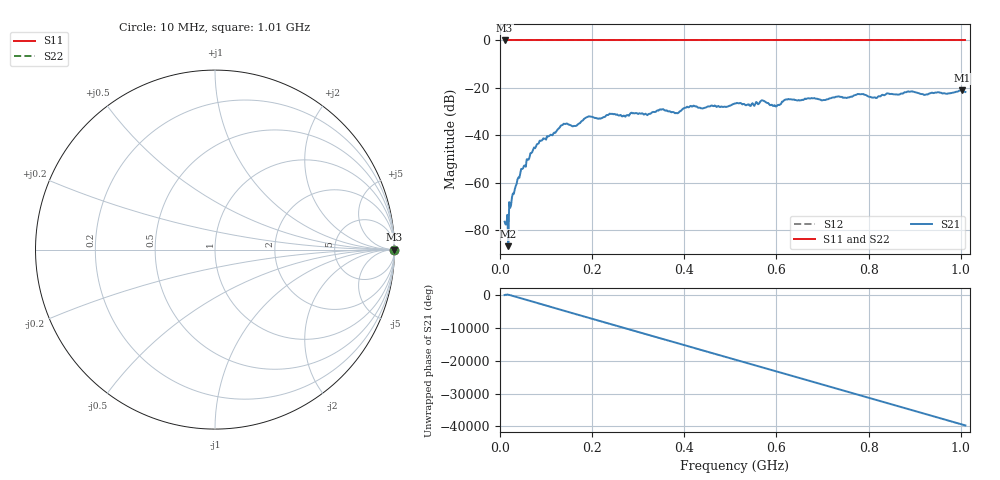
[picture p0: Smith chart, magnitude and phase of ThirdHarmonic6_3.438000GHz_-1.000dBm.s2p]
! 8/17/2025 11:04:35 AM
! C:\ANRITSUVNA\TEMP\TEMP.S2P
! CHANNEL.1
! TR.MEASUREMENT
! RAW.DATA
! RF.CORRECTION.OFF
! AVERAGING.OFF
! IF.BANDWIDTH: 5KHZ
! SWEEPTYPE:  FREQ.SWEEP(Linear)
! Reference Plane Port Info
! PORT:  PORT1  PORT2
! DISTANCE:  0  m  0  m
! TIME:  0  s  0  s
! PHASE.OFFSET:  0  deg.  0  deg.
! LOSS:  0  dB  0  dB
! REF.LOSS:  0  dB  0  dB
! REF.FREQ:  0  Hz  0  Hz
! Power Info
! POWER:  -20  dBm  -20  dBm
! EFF.POWER:  -20  dBm  -20  dBm
! SOURCE.ATTEN:  0  dB  0  dB
! TEST.ATTEN:  0  dB  0  dB
# GHZ S RI R 50.0
! FREQ.GHZ  S11RE  S11IM  S21RE  S21IM  S12RE  S12IM  S22RE  S22IM
!; PortSelection: Port_12
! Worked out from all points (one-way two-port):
!   501 points, 10 MHz to 1.01 GHz, reference 50 ohm
!   highest |S21| = -21.08 dB at 1.002 GHz (marker M1); lowest = -86.7 dB at 18 MHz (marker M2)
!   lowest |S11| = 0.0 dB at 10 MHz (marker M3)
!   |S11| at or under -10 dB: nowhere
!   |S22| runs from 0.0 to 0.0 dB; largest |S21 - S12| = 1.1
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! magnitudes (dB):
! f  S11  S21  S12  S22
! 10 MHz  0.0  -76.4  0.0  0.0
! 14 MHz  0.0  -77.5  0.0  0.0
! 18 MHz  0.0  -86.7  0.0  0.0
! 24 MHz  0.0  -69.4  0.0  0.0
! 42 MHz  0.0  -57.9  0.0  0.0
! 76 MHz  0.0  -45.5  0.0  0.0
! 136 MHz  0.0  -35.6  0.0  0.0
! 162 MHz  0.0  -36.1  0.0  0.0
! 178 MHz  0.0  -33.9  0.0  0.0
! 192 MHz  0.0  -32.0  0.0  0.0
! 322 MHz  0.0  -31.1  0.0  0.0
! 344 MHz  0.0  -29.6  0.0  0.0
! 384 MHz  0.0  -30.7  0.0  0.0
! 416 MHz  0.0  -27.9  0.0  0.0
! 510 MHz  0.0  -26.5  0.0  0.0
! 570 MHz  0.0  -25.3  0.0  0.0
! 596 MHz  0.0  -27.3  0.0  0.0
! 622 MHz  0.0  -24.8  0.0  0.0
! 678 MHz  0.0  -24.4  0.0  0.0
! 844 MHz  0.0  -22.4  0.0  0.0
! 1.002 GHz  0.0  -21.1  0.0  0.0
! 1.01 GHz  0.0  -21.7  0.0  0.0
